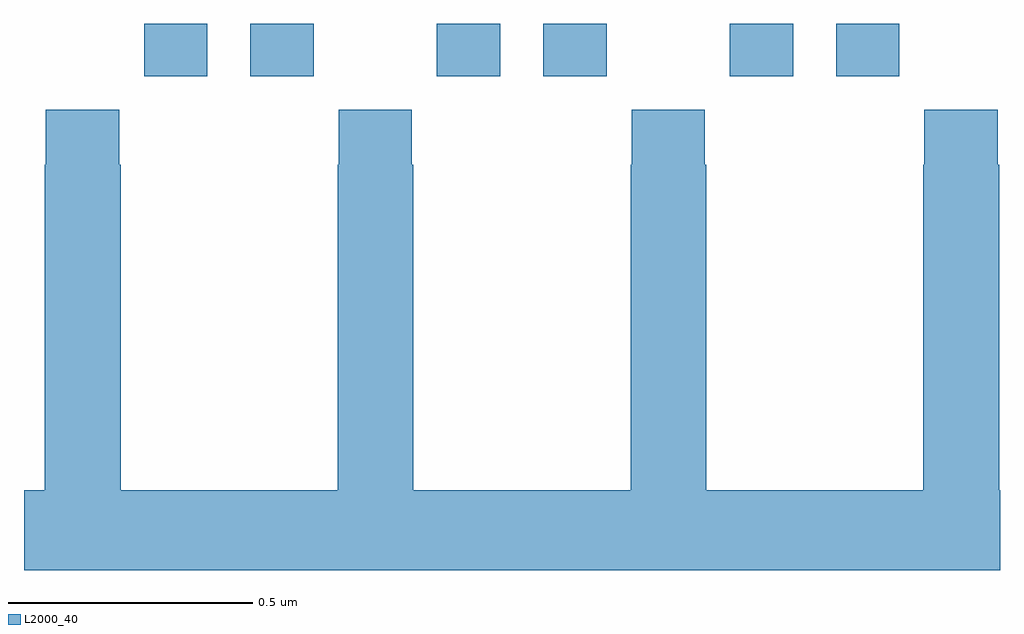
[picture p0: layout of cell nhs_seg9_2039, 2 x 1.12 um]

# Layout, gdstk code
import gdstk
lib = gdstk.Library(unit=1e-6, precision=1e-09)
def R(c, l, rs):  # rectangles x0, y0, x1, y1
    for r in rs: c.add(gdstk.rectangle(r[:2], r[2:], *l))
def P(c, l, *ps):  # polygons
    for p in ps: c.add(gdstk.Polygon(p, *l))
L2000_40 = (2000, 40)

nhs_seg9_2039 = lib.new_cell('nhs_seg9_2039')
R(nhs_seg9_2039, L2000_40, [(135.246,1237.392,135.376,1237.5), (135.464,1237.392,135.594,1237.5), (135.846,1237.392,135.976,1237.5), (136.064,1237.392,136.194,1237.5), (136.446,1237.392,136.576,1237.5), (136.664,1237.392,136.794,1237.5)])
P(nhs_seg9_2039, L2000_40, [(137,1236.544),(136.998,1236.544),(136.998,1237.211),(136.995,1237.211),(136.995,1237.324),(136.845,1237.324),(136.845,1237.211),(136.843,1237.211),(136.843,1236.544),(136.398,1236.544),(136.398,1237.211),(136.395,1237.211),(136.395,1237.324),(136.245,1237.324),(136.245,1237.211),(136.243,1237.211),(136.243,1236.544),(135.798,1236.544),(135.798,1237.211),(135.795,1237.211),(135.795,1237.324),(135.645,1237.324),(135.645,1237.211),(135.643,1237.211),(135.643,1236.544),(135.198,1236.544),(135.198,1237.211),(135.195,1237.211),(135.195,1237.324),(135.045,1237.324),(135.045,1237.211),(135.043,1237.211),(135.043,1236.544),(135,1236.544),(135,1236.38),(137,1236.38)])

lib.write_gds('nhs_seg9_2039.gds')
